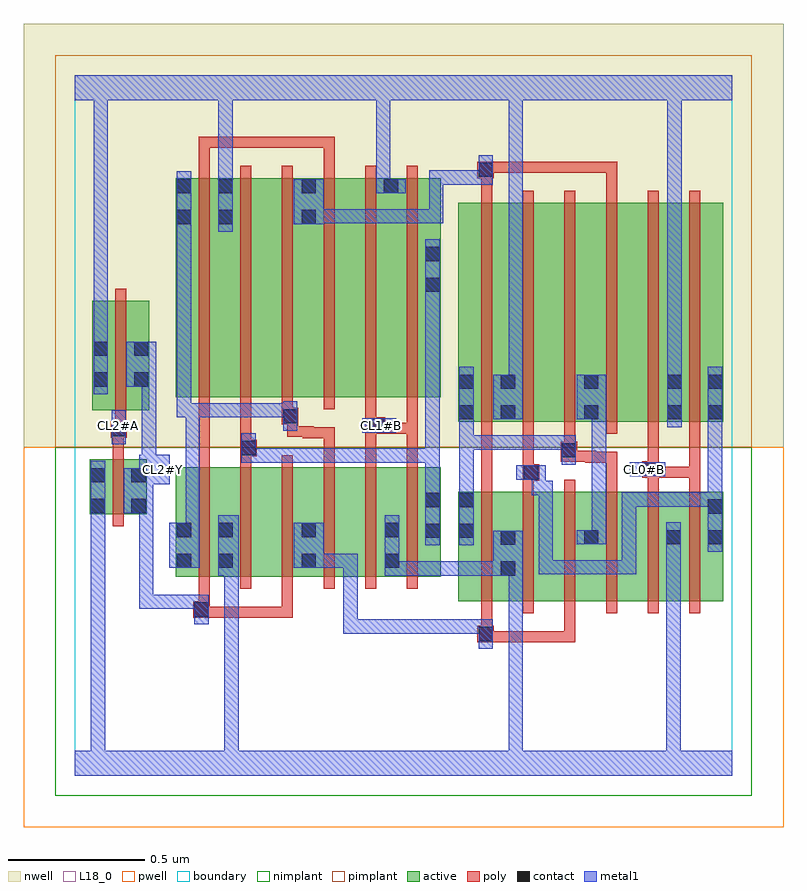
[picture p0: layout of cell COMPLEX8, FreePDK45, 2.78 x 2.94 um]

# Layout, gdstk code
import gdstk
lib = gdstk.Library(unit=1e-6, precision=1e-09)
def R(c, l, rs):  # rectangles x0, y0, x1, y1
    for r in rs: c.add(gdstk.rectangle(r[:2], r[2:], *l))
def A(c, l, x, y, w, h, nx, ny, dx, dy):  # array of equal rectangles
    R(c, l, [(x+i*dx, y+j*dy, x+i*dx+w, y+j*dy+h) for i in range(nx) for j in range(ny)])
active = (1, 0)
pwell = (2, 0)
nwell = (3, 0)
nimplant = (4, 0)
pimplant = (5, 0)
poly = (9, 0)
contact = (10, 0)
metal1 = (11, 0)
L18_0 = (18, 0)
boundary = (235, 0)

complex8 = lib.new_cell('COMPLEX8')
R(complex8, active, [(1.4,0.638,1.46,1.038), (1.4,0.638,1.612,1.038), (1.552,0.638,1.612,1.038), (1.552,0.638,1.732,1.038), (1.732,0.638,1.916,1.038), (1.856,0.638,2.036,1.038), (2.036,0.638,2.216,1.038), (2.156,0.638,2.368,1.038), (2.156,0.638,2.216,0.93), (2.308,0.638,2.368,1.038), (0.368,0.728,0.428,1.128), (0.368,0.728,0.58,1.128), (0.52,0.728,0.58,1.128), (0.52,0.728,0.7,1.128), (0.7,0.728,0.884,1.128), (0.824,0.728,0.884,1.128), (0.824,0.728,1.004,1.128), (1.004,0.728,1.188,1.128), (1.128,0.728,1.336,1.128), (1.128,0.756,1.188,1.128), (1.276,0.756,1.336,1.128), (1.856,0.756,1.916,0.902), (0.054,0.956,0.114,1.156), (0.054,0.956,0.262,1.156), (0.202,0.956,0.262,1.156), (1.4,1.294,1.46,2.044), (1.4,1.294,1.612,2.094), (1.552,1.294,1.612,2.094), (1.552,1.294,1.732,2.094), (1.732,1.294,1.916,2.094), (1.856,1.294,1.916,2.094), (1.856,1.294,2.036,2.094), (2.036,1.294,2.22,2.094), (2.16,1.294,2.368,2.094), (2.16,1.294,2.22,2.044), (2.308,1.294,2.368,2.094), (0.064,1.336,0.124,1.736), (0.064,1.336,0.272,1.736), (0.212,1.336,0.272,1.736), (0.368,1.384,0.428,2.184), (0.368,1.384,0.58,2.184), (0.52,1.384,0.7,2.184), (0.7,1.384,0.884,2.184), (0.824,1.384,1.004,2.184), (1.004,1.384,1.184,2.184), (1.124,1.384,1.336,2.184), (1.276,1.384,1.336,2.15), (0.824,1.41,0.884,2.184), (1.124,1.47,1.184,2.184), (0.52,1.65,0.58,2.184)])
R(complex8, pwell, [(-0.188,-0.188,2.588,1.2)])
R(complex8, nwell, [(-0.188,1.2,2.588,2.748)])
R(complex8, nimplant, [(-0.072,-0.072,2.472,1.2)])
R(complex8, pimplant, [(-0.072,1.2,2.472,2.632)])
A(complex8, poly, 1.484, 0.594, 0.04, 0.488, 6, 1, 0.152, 0)
A(complex8, poly, 0.452, 0.684, 0.04, 0.488, 6, 1, 0.152, 0)
A(complex8, poly, 1.484, 1.25, 0.04, 0.888, 6, 1, 0.152, 0)
A(complex8, poly, 0.452, 1.34, 0.04, 0.888, 6, 1, 0.152, 0)
R(complex8, poly, [(1.47,0.488,1.53,0.548), (1.49,0.488,1.53,0.528), (1.49,0.488,1.53,0.528), (1.49,0.488,1.708,0.528), (1.668,0.488,1.708,0.528), (1.668,0.488,1.708,0.528), (1.668,0.488,1.708,0.528), (1.668,0.488,1.828,0.528), (1.788,0.488,1.828,0.528), (1.788,0.488,1.828,0.634), (1.484,0.508,1.524,0.634), (0.432,0.578,0.492,0.638), (0.452,0.578,0.492,0.618), (0.452,0.578,0.492,0.618), (0.452,0.578,0.674,0.618), (0.634,0.578,0.674,0.618), (0.634,0.578,0.674,0.618), (0.634,0.578,0.674,0.618), (0.634,0.578,0.796,0.618), (0.756,0.578,0.796,0.618), (0.756,0.578,0.796,0.724), (0.452,0.598,0.492,0.724), (0.138,0.912,0.178,1.2), (1.484,1.042,1.524,1.118), (1.636,1.042,1.676,1.118), (1.94,1.042,1.98,1.184), (2.092,1.042,2.132,1.13), (2.244,1.042,2.284,1.13), (1.484,1.078,1.524,1.118), (1.484,1.078,1.524,1.118), (1.484,1.078,1.524,1.118), (1.484,1.078,1.524,1.29), (1.636,1.078,1.696,1.138), (2.072,1.09,2.132,1.15), (2.092,1.09,2.132,1.13), (2.092,1.09,2.132,1.13), (2.092,1.09,2.284,1.13), (2.244,1.09,2.284,1.29), (2.244,1.09,2.284,1.13), (2.244,1.09,2.284,1.13), (2.244,1.09,2.284,1.13), (1.636,1.098,1.676,1.138), (1.636,1.098,1.676,1.138), (1.636,1.098,1.676,1.29), (2.092,1.11,2.132,1.15), (2.092,1.11,2.132,1.15), (2.092,1.11,2.132,1.29), (0.452,1.132,0.492,1.208), (0.604,1.132,0.644,1.208), (0.908,1.132,0.948,1.274), (1.06,1.132,1.1,1.29), (1.212,1.132,1.252,1.29), (1.864,1.144,1.98,1.184), (1.864,1.144,1.904,1.188), (1.94,1.144,1.98,1.184), (1.94,1.144,1.98,1.184), (1.94,1.144,1.98,1.184), (1.774,1.148,1.834,1.22), (1.794,1.148,1.904,1.188), (0.138,1.16,0.178,1.276), (0.452,1.168,0.492,1.208), (0.452,1.168,0.492,1.208), (0.452,1.168,0.492,1.208), (0.452,1.168,0.492,1.38), (0.604,1.168,0.664,1.228), (1.788,1.18,1.828,1.29), (0.604,1.188,0.644,1.228), (0.604,1.188,0.644,1.228), (0.604,1.188,0.644,1.38), (0.832,1.234,0.948,1.274), (0.832,1.234,0.872,1.278), (0.908,1.234,0.948,1.274), (0.13,1.236,0.19,1.296), (0.138,1.236,0.178,1.276), (0.138,1.236,0.178,1.276), (0.776,1.238,0.816,1.278), (0.776,1.238,0.872,1.278), (0.776,1.238,0.816,1.324), (1.06,1.25,1.1,1.29), (1.06,1.25,1.1,1.29), (1.06,1.25,1.134,1.31), (1.094,1.25,1.252,1.29), (1.212,1.25,1.252,1.29), (1.212,1.25,1.252,1.29), (1.212,1.25,1.252,1.29), (1.212,1.25,1.252,1.29), (1.212,1.25,1.252,1.29), (1.212,1.25,1.252,1.38), (0.148,1.256,0.188,1.332), (1.06,1.27,1.1,1.38), (0.756,1.284,0.816,1.344), (0.148,1.292,0.188,1.78), (0.756,1.304,0.796,1.38), (1.484,2.098,1.524,2.224), (1.94,2.098,1.98,2.244), (1.47,2.184,1.53,2.244), (0.452,2.188,0.492,2.334), (0.908,2.188,0.948,2.334), (1.49,2.204,1.53,2.244), (1.49,2.204,1.53,2.244), (1.49,2.204,1.636,2.244), (1.596,2.204,1.636,2.244), (1.596,2.204,1.636,2.244), (1.596,2.204,1.636,2.244), (1.596,2.204,1.874,2.244), (1.834,2.204,1.874,2.244), (1.834,2.204,1.874,2.244), (1.834,2.204,1.874,2.244), (1.834,2.204,1.98,2.244), (1.94,2.204,1.98,2.244), (0.452,2.294,0.492,2.334), (0.452,2.294,0.492,2.334), (0.452,2.294,0.492,2.334), (0.452,2.294,0.674,2.334), (0.634,2.294,0.674,2.334), (0.634,2.294,0.674,2.334), (0.634,2.294,0.674,2.334), (0.634,2.294,0.78,2.334), (0.74,2.294,0.78,2.334), (0.74,2.294,0.78,2.334), (0.74,2.294,0.78,2.334), (0.74,2.294,0.948,2.334), (0.908,2.294,0.948,2.334)])
A(complex8, contact, 0.524, 0.76, 0.052, 0.052, 3, 2, 0.304, 0.112)
A(complex8, contact, 1.556, 1.302, 0.052, 0.052, 3, 2, 0.304, 0.112)
R(complex8, contact, [(1.474,0.492,1.526,0.544), (0.436,0.582,0.488,0.634), (1.556,0.732,1.608,0.784), (0.372,0.76,0.424,0.812), (1.556,0.844,1.608,0.896), (1.86,0.846,1.912,0.898), (2.16,0.846,2.212,0.898), (2.312,0.846,2.364,0.898), (1.28,0.87,1.332,0.922), (1.404,0.87,1.456,0.922), (0.372,0.872,0.424,0.924), (2.312,0.958,2.364,1.01), (0.058,0.96,0.11,1.012), (0.206,0.96,0.258,1.012), (1.28,0.982,1.332,1.034), (1.404,0.982,1.456,1.034), (0.058,1.072,0.11,1.124), (0.206,1.072,0.258,1.124), (1.64,1.082,1.692,1.134), (2.076,1.094,2.128,1.146), (1.778,1.164,1.83,1.216), (0.608,1.172,0.66,1.224), (0.134,1.24,0.186,1.292), (1.078,1.254,1.13,1.306), (0.76,1.288,0.812,1.34), (1.404,1.302,1.456,1.354), (2.312,1.302,2.364,1.354), (1.404,1.414,1.456,1.466), (2.312,1.414,2.364,1.466), (0.068,1.422,0.12,1.474), (0.216,1.422,0.268,1.474), (0.068,1.534,0.12,1.586), (0.216,1.534,0.268,1.586), (1.28,1.768,1.332,1.82), (1.28,1.88,1.332,1.932), (0.372,2.016,0.424,2.068), (0.524,2.016,0.576,2.068), (0.828,2.016,0.88,2.068), (0.372,2.128,0.424,2.18), (0.524,2.128,0.576,2.18), (0.828,2.128,0.88,2.18), (1.128,2.128,1.18,2.18), (1.474,2.188,1.526,2.24)])
R(complex8, metal1, [(0,0,2.4,0.092), (0.058,0.04,0.11,0.092), (0.058,0.04,0.11,0.092), (0.058,0.04,0.11,0.092), (0.058,0.04,0.11,0.092), (0.058,0.04,0.11,0.092), (0.058,0.04,0.11,0.092), (0.058,0.04,0.11,0.092), (0.058,0.04,0.11,0.092), (0.058,0.04,0.11,0.092), (0.058,0.04,0.11,0.092), (0.058,0.04,0.11,0.984), (0.546,0.04,0.598,0.092), (0.546,0.04,0.598,0.092), (0.546,0.04,0.598,0.092), (0.546,0.04,0.598,0.092), (0.546,0.04,0.598,0.092), (0.546,0.04,0.598,0.092), (0.546,0.04,0.598,0.092), (0.546,0.04,0.598,0.092), (0.546,0.04,0.598,0.092), (0.546,0.04,0.598,0.092), (0.546,0.04,0.598,0.784), (1.584,0.04,1.636,0.092), (1.584,0.04,1.636,0.092), (1.584,0.04,1.636,0.092), (1.584,0.04,1.636,0.092), (1.584,0.04,1.636,0.092), (1.584,0.04,1.636,0.092), (1.584,0.04,1.636,0.092), (1.584,0.04,1.636,0.092), (1.584,0.04,1.636,0.092), (1.584,0.04,1.636,0.092), (1.584,0.04,1.636,0.092), (1.584,0.04,1.636,0.092), (1.584,0.04,1.636,0.784), (2.16,0.04,2.212,0.092), (2.16,0.04,2.212,0.092), (2.16,0.04,2.212,0.092), (2.16,0.04,2.212,0.092), (2.16,0.04,2.212,0.092), (2.16,0.04,2.212,0.092), (2.16,0.04,2.212,0.092), (2.16,0.04,2.212,0.092), (2.16,0.04,2.212,0.87), (1.474,0.464,1.526,0.572), (0.98,0.52,1.032,0.572), (0.98,0.52,1.032,0.572), (0.98,0.52,1.032,0.572), (0.98,0.52,1.162,0.572), (0.98,0.52,1.032,0.812), (1.11,0.52,1.162,0.572), (1.11,0.52,1.162,0.572), (1.11,0.52,1.162,0.572), (1.11,0.52,1.346,0.572), (1.294,0.52,1.346,0.572), (1.294,0.52,1.346,0.572), (1.294,0.52,1.346,0.572), (1.294,0.52,1.526,0.572), (0.436,0.554,0.488,0.662), (0.234,0.61,0.286,0.662), (0.234,0.61,0.286,0.662), (0.234,0.61,0.286,0.662), (0.234,0.61,0.286,0.662), (0.234,0.61,0.286,0.662), (0.234,0.61,0.466,0.662), (0.234,0.61,0.286,1.012), (0.414,0.61,0.466,0.662), (0.414,0.61,0.488,0.662), (0.524,0.732,0.598,0.952), (0.546,0.732,0.598,0.784), (0.546,0.732,0.598,0.784), (1.132,0.732,1.184,0.784), (1.132,0.732,1.184,0.784), (1.132,0.732,1.184,0.952), (1.132,0.732,1.346,0.784), (1.294,0.732,1.346,0.784), (1.294,0.732,1.346,0.784), (1.294,0.732,1.346,0.784), (1.294,0.732,1.456,0.784), (1.404,0.732,1.456,0.784), (1.404,0.732,1.58,0.784), (1.528,0.732,1.636,0.896), (1.694,0.736,1.746,0.788), (1.694,0.736,1.83,0.788), (1.694,0.736,1.746,1.078), (1.778,0.736,1.83,0.788), (1.778,0.736,1.94,0.788), (1.888,0.736,1.94,0.788), (1.888,0.736,1.94,0.788), (1.888,0.736,1.94,0.788), (1.888,0.736,2.05,0.788), (1.998,0.736,2.05,0.788), (1.998,0.736,2.05,1.036), (0.344,0.76,0.456,0.924), (0.8,0.76,0.908,0.924), (0.856,0.76,0.908,0.812), (0.856,0.76,0.908,0.812), (0.856,0.76,1.032,0.812), (0.98,0.76,1.032,0.812), (2.16,0.818,2.212,0.87), (2.16,0.818,2.212,0.87), (2.16,0.818,2.212,0.87), (2.16,0.818,2.212,0.87), (2.16,0.818,2.212,0.926), (2.312,0.818,2.364,1.038), (1.28,0.842,1.332,1.062), (1.404,0.842,1.456,1.062), (1.832,0.846,1.94,0.898), (1.888,0.846,1.94,1.354), (0.404,0.872,0.456,1.362), (0.058,0.932,0.11,0.984), (0.058,0.932,0.11,0.984), (0.058,0.932,0.11,0.984), (0.058,0.932,0.11,0.984), (0.058,0.932,0.11,0.984), (0.058,0.932,0.11,0.984), (0.058,0.932,0.11,1.152), (0.178,0.96,0.286,1.124), (0.234,0.96,0.286,1.012), (0.234,0.96,0.286,1.012), (1.998,0.984,2.05,1.036), (1.998,0.984,2.05,1.036), (1.998,0.984,2.05,1.036), (1.998,0.984,2.254,1.036), (2.202,0.984,2.254,1.036), (2.202,0.984,2.364,1.036), (2.312,0.984,2.364,1.036), (2.312,0.984,2.364,1.036), (2.312,0.986,2.364,1.038), (2.312,0.986,2.364,1.038), (2.312,0.986,2.364,1.326), (1.28,1.01,1.332,1.196), (1.404,1.01,1.456,1.244), (1.668,1.026,1.72,1.134), (1.668,1.026,1.746,1.078), (0.234,1.066,0.346,1.174), (0.234,1.072,0.286,1.124), (1.612,1.082,1.72,1.134), (1.668,1.082,1.72,1.134), (1.668,1.082,1.72,1.134), (2.026,1.094,2.156,1.146), (0.244,1.122,0.296,1.474), (1.778,1.136,1.83,1.244), (0.608,1.144,0.66,1.252), (0.608,1.144,0.688,1.196), (0.636,1.144,0.688,1.196), (0.636,1.144,0.798,1.196), (0.746,1.144,0.798,1.196), (0.746,1.144,0.798,1.196), (0.746,1.144,0.798,1.196), (0.746,1.144,0.922,1.196), (0.87,1.144,0.922,1.196), (0.87,1.144,1.032,1.196), (0.98,1.144,1.032,1.196), (0.98,1.144,1.032,1.196), (0.98,1.144,1.032,1.196), (0.98,1.144,1.142,1.196), (1.09,1.144,1.142,1.196), (1.09,1.144,1.142,1.196), (1.09,1.144,1.142,1.196), (1.09,1.144,1.332,1.196), (1.28,1.144,1.332,1.196), (1.28,1.144,1.332,1.196), (1.28,1.144,1.332,1.196), (1.28,1.144,1.332,1.792), (1.404,1.192,1.456,1.244), (1.404,1.192,1.456,1.244), (1.404,1.192,1.456,1.244), (1.404,1.192,1.456,1.244), (1.404,1.192,1.456,1.244), (1.404,1.192,1.61,1.244), (1.404,1.192,1.456,1.326), (1.558,1.192,1.61,1.244), (1.558,1.192,1.72,1.244), (1.668,1.192,1.72,1.244), (1.668,1.192,1.72,1.244), (1.668,1.192,1.72,1.244), (1.668,1.192,1.83,1.244), (0.134,1.212,0.186,1.336), (1.05,1.254,1.174,1.306), (0.76,1.26,0.812,1.368), (1.404,1.274,1.456,1.494), (2.164,1.274,2.216,1.494), (2.312,1.274,2.364,1.326), (2.312,1.274,2.364,1.326), (2.312,1.274,2.364,1.494), (1.528,1.302,1.636,1.466), (1.832,1.302,1.94,1.466), (1.888,1.302,1.94,1.354), (1.888,1.302,1.94,1.354), (1.888,1.302,1.94,1.354), (1.888,1.302,1.94,1.354), (0.372,1.31,0.424,2.04), (0.372,1.31,0.456,1.362), (0.404,1.31,0.456,1.362), (0.404,1.31,0.456,1.362), (0.404,1.31,0.456,1.362), (0.404,1.31,0.456,1.362), (0.404,1.31,0.576,1.362), (0.524,1.31,0.576,1.362), (0.524,1.31,0.686,1.362), (0.634,1.31,0.686,1.362), (0.634,1.31,0.686,1.362), (0.634,1.31,0.686,1.362), (0.634,1.31,0.812,1.362), (0.068,1.394,0.12,1.614), (1.584,1.414,1.636,1.466), (1.584,1.414,1.636,1.466), (1.584,1.414,1.636,1.466), (1.584,1.414,1.636,1.466), (1.584,1.414,1.636,2.52), (0.188,1.422,0.296,1.586), (0.244,1.422,0.296,1.474), (0.244,1.422,0.296,1.474), (2.164,1.442,2.216,1.494), (2.164,1.442,2.216,1.494), (2.164,1.442,2.216,1.494), (2.164,1.442,2.216,1.494), (2.164,1.442,2.216,1.494), (2.164,1.442,2.216,1.494), (2.164,1.442,2.216,1.494), (2.164,1.442,2.216,1.494), (2.164,1.442,2.216,2.52), (0.068,1.562,0.12,1.614), (0.068,1.562,0.12,1.614), (0.068,1.562,0.12,1.614), (0.068,1.562,0.12,1.614), (0.068,1.562,0.12,1.614), (0.068,1.562,0.12,1.614), (0.068,1.562,0.12,1.614), (0.068,1.562,0.12,1.614), (0.068,1.562,0.12,2.52), (1.28,1.74,1.332,1.96), (0.372,1.988,0.424,2.208), (0.524,1.988,0.576,2.208), (0.8,2.016,0.908,2.18), (0.856,2.018,0.908,2.07), (0.856,2.018,0.908,2.07), (0.856,2.018,1.032,2.07), (0.98,2.018,1.032,2.07), (0.98,2.018,1.032,2.07), (0.98,2.018,1.032,2.07), (0.98,2.018,1.222,2.07), (1.17,2.018,1.222,2.07), (1.17,2.018,1.222,2.07), (1.17,2.018,1.222,2.07), (1.17,2.018,1.346,2.07), (1.294,2.018,1.346,2.07), (1.294,2.018,1.346,2.212), (1.1,2.128,1.152,2.18), (1.1,2.128,1.152,2.18), (1.1,2.128,1.152,2.18), (1.1,2.128,1.152,2.18), (1.1,2.128,1.208,2.18), (1.1,2.128,1.152,2.52), (0.524,2.156,0.576,2.52), (1.294,2.16,1.346,2.212), (1.294,2.16,1.346,2.212), (1.294,2.16,1.346,2.212), (1.294,2.16,1.346,2.212), (1.294,2.16,1.346,2.212), (1.294,2.16,1.526,2.212), (1.474,2.16,1.526,2.268), (0,2.468,2.4,2.56), (0.068,2.468,0.12,2.52), (0.068,2.468,0.12,2.52), (0.068,2.468,0.12,2.52), (0.068,2.468,0.12,2.52), (0.068,2.468,0.12,2.52), (0.068,2.468,0.12,2.52), (0.068,2.468,0.12,2.52), (0.068,2.468,0.12,2.52), (0.524,2.468,0.576,2.52), (0.524,2.468,0.576,2.52), (0.524,2.468,0.576,2.52), (0.524,2.468,0.576,2.52), (0.524,2.468,0.576,2.52), (0.524,2.468,0.576,2.52), (0.524,2.468,0.576,2.52), (0.524,2.468,0.576,2.52), (1.1,2.468,1.152,2.52), (1.1,2.468,1.152,2.52), (1.1,2.468,1.152,2.52), (1.1,2.468,1.152,2.52), (1.584,2.468,1.636,2.52), (1.584,2.468,1.636,2.52), (1.584,2.468,1.636,2.52), (1.584,2.468,1.636,2.52)])
R(complex8, L18_0, [(0,0,2.4,0.092), (0.058,0.04,0.11,0.092), (0.058,0.04,0.11,0.092), (0.058,0.04,0.11,0.092), (0.058,0.04,0.11,0.092), (0.058,0.04,0.11,0.092), (0.058,0.04,0.11,0.092), (0.058,0.04,0.11,0.092), (0.058,0.04,0.11,0.092), (0.058,0.04,0.11,0.092), (0.058,0.04,0.11,0.092), (0.058,0.04,0.11,0.984), (0.546,0.04,0.598,0.092), (0.546,0.04,0.598,0.092), (0.546,0.04,0.598,0.092), (0.546,0.04,0.598,0.092), (0.546,0.04,0.598,0.092), (0.546,0.04,0.598,0.092), (0.546,0.04,0.598,0.092), (0.546,0.04,0.598,0.092), (0.546,0.04,0.598,0.092), (0.546,0.04,0.598,0.092), (0.546,0.04,0.598,0.784), (1.584,0.04,1.636,0.092), (1.584,0.04,1.636,0.092), (1.584,0.04,1.636,0.092), (1.584,0.04,1.636,0.092), (1.584,0.04,1.636,0.092), (1.584,0.04,1.636,0.092), (1.584,0.04,1.636,0.092), (1.584,0.04,1.636,0.092), (1.584,0.04,1.636,0.092), (1.584,0.04,1.636,0.092), (1.584,0.04,1.636,0.092), (1.584,0.04,1.636,0.092), (1.584,0.04,1.636,0.784), (2.16,0.04,2.212,0.092), (2.16,0.04,2.212,0.092), (2.16,0.04,2.212,0.092), (2.16,0.04,2.212,0.092), (2.16,0.04,2.212,0.092), (2.16,0.04,2.212,0.092), (2.16,0.04,2.212,0.092), (2.16,0.04,2.212,0.092), (2.16,0.04,2.212,0.87), (0.436,0.554,0.488,0.662), (0.234,0.61,0.286,0.662), (0.234,0.61,0.286,0.662), (0.234,0.61,0.286,0.662), (0.234,0.61,0.286,0.662), (0.234,0.61,0.286,0.662), (0.234,0.61,0.286,1.012), (0.234,0.61,0.466,0.662), (0.414,0.61,0.466,0.662), (0.414,0.61,0.488,0.662), (0.524,0.732,0.598,0.952), (0.546,0.732,0.598,0.784), (0.546,0.732,0.598,0.784), (1.132,0.732,1.184,0.784), (1.132,0.732,1.184,0.784), (1.132,0.732,1.184,0.952), (1.132,0.732,1.346,0.784), (1.294,0.732,1.346,0.784), (1.294,0.732,1.346,0.784), (1.294,0.732,1.346,0.784), (1.294,0.732,1.456,0.784), (1.404,0.732,1.456,0.784), (1.404,0.732,1.58,0.784), (1.528,0.732,1.636,0.896), (2.16,0.818,2.212,0.87), (2.16,0.818,2.212,0.87), (2.16,0.818,2.212,0.87), (2.16,0.818,2.212,0.87), (2.16,0.818,2.212,0.926), (0.058,0.932,0.11,0.984), (0.058,0.932,0.11,0.984), (0.058,0.932,0.11,0.984), (0.058,0.932,0.11,0.984), (0.058,0.932,0.11,0.984), (0.058,0.932,0.11,0.984), (0.058,0.932,0.11,1.152), (0.178,0.96,0.286,1.124), (0.234,0.96,0.286,1.012), (0.234,0.96,0.286,1.012), (0.234,1.066,0.346,1.174), (0.234,1.072,0.286,1.124), (0.294,1.094,0.346,1.146), (2.026,1.094,2.156,1.146), (2.054,1.094,2.106,1.146), (0.244,1.122,0.296,1.474), (0.134,1.212,0.186,1.336), (0.134,1.254,0.186,1.306), (1.05,1.254,1.174,1.306), (1.094,1.254,1.146,1.306), (2.164,1.274,2.216,1.494), (1.528,1.302,1.636,1.466), (0.068,1.394,0.12,1.614), (1.584,1.414,1.636,1.466), (1.584,1.414,1.636,1.466), (1.584,1.414,1.636,1.466), (1.584,1.414,1.636,1.466), (1.584,1.414,1.636,2.52), (0.188,1.422,0.296,1.586), (0.244,1.422,0.296,1.474), (0.244,1.422,0.296,1.474), (2.164,1.442,2.216,1.494), (2.164,1.442,2.216,1.494), (2.164,1.442,2.216,1.494), (2.164,1.442,2.216,1.494), (2.164,1.442,2.216,1.494), (2.164,1.442,2.216,1.494), (2.164,1.442,2.216,1.494), (2.164,1.442,2.216,1.494), (2.164,1.442,2.216,2.52), (0.068,1.562,0.12,1.614), (0.068,1.562,0.12,1.614), (0.068,1.562,0.12,1.614), (0.068,1.562,0.12,1.614), (0.068,1.562,0.12,1.614), (0.068,1.562,0.12,1.614), (0.068,1.562,0.12,1.614), (0.068,1.562,0.12,1.614), (0.068,1.562,0.12,2.52), (0.524,1.988,0.576,2.208), (1.1,2.128,1.152,2.18), (1.1,2.128,1.152,2.18), (1.1,2.128,1.152,2.18), (1.1,2.128,1.152,2.18), (1.1,2.128,1.208,2.18), (1.1,2.128,1.152,2.52), (0.524,2.156,0.576,2.52), (0,2.468,2.4,2.56), (0.068,2.468,0.12,2.52), (0.068,2.468,0.12,2.52), (0.068,2.468,0.12,2.52), (0.068,2.468,0.12,2.52), (0.068,2.468,0.12,2.52), (0.068,2.468,0.12,2.52), (0.068,2.468,0.12,2.52), (0.068,2.468,0.12,2.52), (0.524,2.468,0.576,2.52), (0.524,2.468,0.576,2.52), (0.524,2.468,0.576,2.52), (0.524,2.468,0.576,2.52), (0.524,2.468,0.576,2.52), (0.524,2.468,0.576,2.52), (0.524,2.468,0.576,2.52), (0.524,2.468,0.576,2.52), (1.1,2.468,1.152,2.52), (1.1,2.468,1.152,2.52), (1.1,2.468,1.152,2.52), (1.1,2.468,1.152,2.52), (1.584,2.468,1.636,2.52), (1.584,2.468,1.636,2.52), (1.584,2.468,1.636,2.52), (1.584,2.468,1.636,2.52)])
R(complex8, boundary, [(0,0,2.4,2.56)])
complex8.add(gdstk.Label('CL0#B', (2.08,1.12), layer=11, texttype=0))
complex8.add(gdstk.Label('CL1#B', (1.12,1.28), layer=11, texttype=0))
complex8.add(gdstk.Label('CL2#A', (0.16,1.28), layer=11, texttype=0))
complex8.add(gdstk.Label('CL2#Y', (0.32,1.12), layer=11, texttype=0))

lib.write_gds('COMPLEX8.gds')
